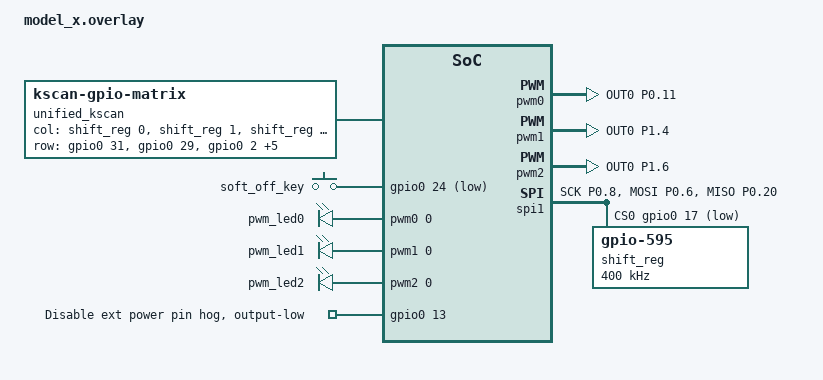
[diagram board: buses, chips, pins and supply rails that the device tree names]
#include <dt-bindings/zmk/matrix_transform.h>
#include <dt-bindings/led/led.h>
#include <physical_layouts.dtsi>
#include "model_x_ansi101.dtsi"
#include "model_x_iso102.dtsi"
#include "model_x_iso122.dtsi"
#include "model_x_ansi84.dtsi"
#include "model_x_iso85.dtsi"
#include "model_x_posmap.dtsi"

#include <dt-bindings/zmk/behaviors.h>
#include <dt-bindings/zmk/keys.h>

/ {
    chosen {
        zmk,physical-layout = &iso122_ph_layout;
    };
    
    unified_kscan: unified_kscan {
        compatible = "zmk,kscan-gpio-matrix";
        wakeup-source;
        diode-direction = "col2row";

        col-gpios = 
            <&shift_reg 0 (GPIO_ACTIVE_HIGH)>, // col 1
            <&shift_reg 1 (GPIO_ACTIVE_HIGH)>, // col 2
            <&shift_reg 2 (GPIO_ACTIVE_HIGH)>, // col 3
            <&shift_reg 3 (GPIO_ACTIVE_HIGH)>, // col 4
            <&shift_reg 4 (GPIO_ACTIVE_HIGH)>, // col 5
            <&shift_reg 5 (GPIO_ACTIVE_HIGH)>, // col 6
            <&shift_reg 6 (GPIO_ACTIVE_HIGH)>, // col 7
            <&shift_reg 7 (GPIO_ACTIVE_HIGH)>, // col 8
            <&shift_reg 8 (GPIO_ACTIVE_HIGH)>, // col 9
            <&shift_reg 9 (GPIO_ACTIVE_HIGH)>, // col 10
            <&shift_reg 10 (GPIO_ACTIVE_HIGH)>, // col 11
            <&shift_reg 11 (GPIO_ACTIVE_HIGH)>, // col 12
            <&shift_reg 12 (GPIO_ACTIVE_HIGH)>, // col 13
            <&shift_reg 13 (GPIO_ACTIVE_HIGH)>, // col 14
            <&shift_reg 14 (GPIO_ACTIVE_HIGH)>, // col 15
            <&shift_reg 15 (GPIO_ACTIVE_HIGH)>,  // col 16
            <&gpio1 00 (GPIO_ACTIVE_HIGH | GPIO_PULL_DOWN)>, // col 17
            <&gpio1 07 (GPIO_ACTIVE_HIGH | GPIO_PULL_DOWN)>, // col 18
            <&gpio1 02 (GPIO_ACTIVE_HIGH | GPIO_PULL_DOWN)>, // col 19
            <&gpio1 01 (GPIO_ACTIVE_HIGH | GPIO_PULL_DOWN)> // col 20
        ;

        row-gpios =
            <&gpio0 31 (GPIO_ACTIVE_HIGH | GPIO_PULL_DOWN)>, // row 0
            <&gpio0 29 (GPIO_ACTIVE_HIGH | GPIO_PULL_DOWN)>, // row 1
            <&gpio0 2 (GPIO_ACTIVE_HIGH | GPIO_PULL_DOWN)>,  // row 2
            <&gpio1 15 (GPIO_ACTIVE_HIGH | GPIO_PULL_DOWN)>, // row 3
            <&gpio1 13 (GPIO_ACTIVE_HIGH | GPIO_PULL_DOWN)>, // row 4
            <&gpio1 11 (GPIO_ACTIVE_HIGH | GPIO_PULL_DOWN)>, // row 5
            <&gpio0 10 (GPIO_ACTIVE_HIGH | GPIO_PULL_DOWN)>, // row 6
            <&gpio0 9 (GPIO_ACTIVE_HIGH | GPIO_PULL_DOWN)>   // row 7
        ;
    };
};

/ {
    keys {
        compatible = "gpio-keys";
        soft_off_key: soft_off_key {
            gpios = <&gpio0 24 (GPIO_ACTIVE_LOW | GPIO_PULL_UP)>;
        };
    };

    behaviors {
        hw_soft_off: hw_soft_off {
            compatible = "zmk,behavior-soft-off";
            #binding-cells = <0>;
            hold-time-ms = <1250>;
        };
    };
    
    soft_off_direct_scan: soft_off_direct_scan {
        compatible = "zmk,kscan-gpio-direct";
        input-keys = <&soft_off_key>;
        wakeup-source;
    };
    
    side_band_behavior_triggers: side_band_behavior_triggers {
        compatible = "zmk,kscan-sideband-behaviors";

        kscan = <&soft_off_direct_scan>;
        auto-enable;
        wakeup-source;

        soft_off {
            column = <0>;
            row = <0>;
            bindings = <&hw_soft_off>;
        };
    };
    
    soft_off_wakers {
        compatible = "zmk,soft-off-wakeup-sources";
        wakeup-sources = <&soft_off_direct_scan>;
    };

};

&pinctrl {
    spi1_default: spi1_default {
        group1 {
            psels = <NRF_PSEL(SPIM_SCK, 0, 8)>,
                <NRF_PSEL(SPIM_MOSI, 0, 6)>,
                <NRF_PSEL(SPIM_MISO, 0, 20)>;
        };
    };

    spi1_sleep: spi1_sleep {
        group1 {
            psels = <NRF_PSEL(SPIM_SCK, 0, 8)>,
                <NRF_PSEL(SPIM_MOSI, 0, 6)>,
                <NRF_PSEL(SPIM_MISO, 0, 20)>;
            low-power-enable;
        };
    };
	
	pwm0_default: pwm0_default {
        group1 {
            psels = <NRF_PSEL(PWM_OUT0, 0, 11)>;
        };
    };
	
    pwm0_sleep: pwm0_sleep {
        group1 {
            psels = <NRF_PSEL(PWM_OUT0, 0, 11)>;
            low-power-enable;
        };
    };

	pwm1_default: pwm1_default {
        group1 {
            psels = <NRF_PSEL(PWM_OUT0, 1, 4)>;
        };
    };
	
    pwm1_sleep: pwm1_sleep {
        group1 {
            psels = <NRF_PSEL(PWM_OUT0, 1, 4)>;
            low-power-enable;
        };
    };
	
	pwm2_default: pwm2_default {
        group1 {
            psels = <NRF_PSEL(PWM_OUT0, 1, 6)>;
        };
    };
	
    pwm2_sleep: pwm2_sleep {
        group1 {
            psels = <NRF_PSEL(PWM_OUT0, 1, 6)>;
            low-power-enable;
        };
    };

};

&pwm0 {
    status = "okay";
    pinctrl-0 = <&pwm0_default>;
    pinctrl-1 = <&pwm0_sleep>;
    pinctrl-names = "default", "sleep";
};

&pwm1 {
    status = "okay";
    pinctrl-0 = <&pwm1_default>;
    pinctrl-1 = <&pwm1_sleep>;
    pinctrl-names = "default", "sleep";
};

&pwm2 {
    status = "okay";
    pinctrl-0 = <&pwm2_default>;
    pinctrl-1 = <&pwm2_sleep>;
    pinctrl-names = "default", "sleep";
};

&gpio0 {
    extpwr_pull: extpwr_pull {
        gpio-hog;
        gpios = <13 GPIO_ACTIVE_HIGH>;  // might need to swap this or the next, not sure
        output-low;
        line-name = "Disable ext power pin";
    };
};

&spi1 {
    // Enable the SPI interface and configure the CS (Chip Select) pin
    status = "okay";
    pinctrl-0 = <&spi1_default>; // Default pin configuration
    pinctrl-1 = <&spi1_sleep>;   // Low power pin configuration
    pinctrl-names = "default", "sleep"; // Names of the pin configurations
    //wakeup-source; 
    cs-gpios = <&gpio0 17 GPIO_ACTIVE_LOW>; // Pin 0.17 for CS (Chip Select), active low

    shift_reg: 595@0 {
        // Configure the 74HC595 shift register
        compatible = "zmk,gpio-595"; // Specify the compatible device
        status = "okay";
        //wakeup-source; 
        gpio-controller;
        spi-max-frequency = <400000>; // Maximum SPI frequency (4 MHz)
        #gpio-cells = <2>;
        reg = <0>; // SPI device address
        #gpio-cells = <2>;
        ngpios = <16>;
    };

};

/ {
    //chosen {
    //    zmk,physical-layout = &iso102_ph_layout;
    //};
    
    aliases {
		pwm-led-numlock = &pwm_led0;
        pwm-led-capslock = &pwm_led1;
        pwm-led-scrolllock = &pwm_led2;
    };

	pwmleds {
		compatible = "pwm-leds";
		pwm_led0: pwm_led_0 {
			pwms = <&pwm0 0 10000 PWM_POLARITY_INVERTED>;
		};

		pwm_led1: pwm_led_1 {
			pwms = <&pwm1 0 10000 PWM_POLARITY_INVERTED>;
		};

		pwm_led2: pwm_led_2 {
			pwms = <&pwm2 0 10000 PWM_POLARITY_INVERTED>;
		};
	};

};

/ {
    behaviors {
        sskscrnumlck: ssk_scr_num_lck {
            compatible = "zmk,behavior-mod-morph";
            #binding-cells = <0>;
            bindings = <&kp SLCK>, <&kp KP_NLCK>;
            mods = <(MOD_LSFT|MOD_RSFT)>;
        };
    };
};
